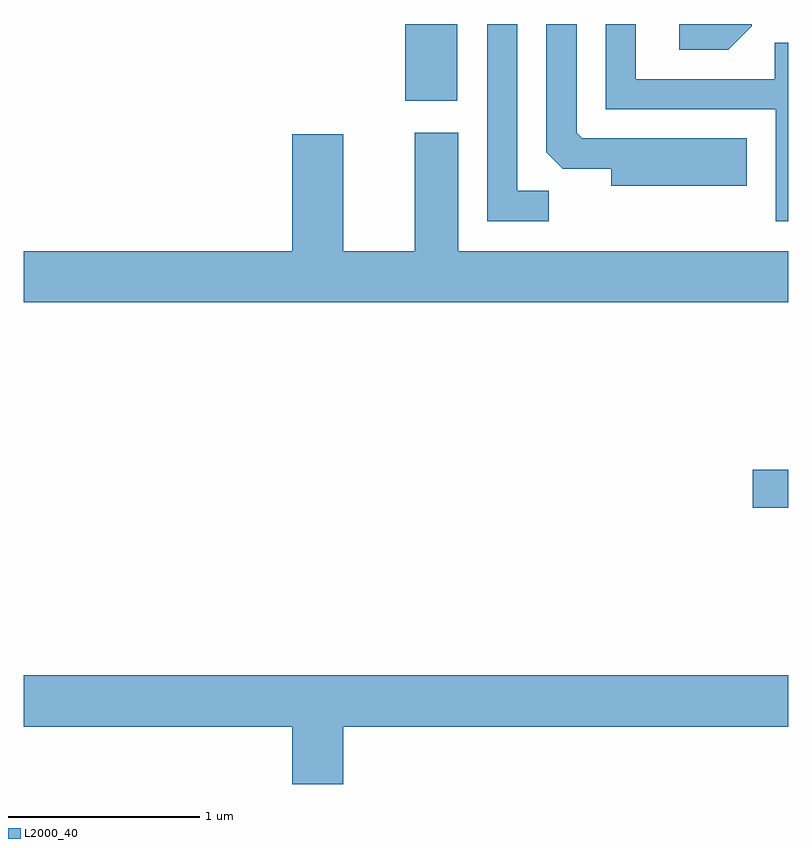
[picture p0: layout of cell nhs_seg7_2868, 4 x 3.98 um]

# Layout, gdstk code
import gdstk
lib = gdstk.Library(unit=1e-6, precision=1e-09)
def R(c, l, rs):  # rectangles x0, y0, x1, y1
    for r in rs: c.add(gdstk.rectangle(r[:2], r[2:], *l))
def P(c, l, *ps):  # polygons
    for p in ps: c.add(gdstk.Polygon(p, *l))
L2000_40 = (2000, 40)

nhs_seg7_2868 = lib.new_cell('nhs_seg7_2868')
R(nhs_seg7_2868, L2000_40, [(277.426,1677.721,277.611,1677.919), (275.606,1679.851,275.879,1680.252)])
P(nhs_seg7_2868, L2000_40, [(277.419,1680.239),(277.419,1680.252),(277.041,1680.252),(277.041,1680.116),(277.297,1680.116)],
  [(277.394,1679.654),(276.532,1679.654),(276.504,1679.682),(276.504,1680.252),(276.346,1680.252),(276.346,1679.582),(276.432,1679.496),(276.686,1679.496),(276.686,1679.406),(277.394,1679.406)],
  [(277.611,1680.153),(277.541,1680.153),(277.541,1679.964),(276.814,1679.964),(276.814,1680.252),(276.656,1680.252),(276.656,1679.806),(277.546,1679.806),(277.546,1679.221),(277.611,1679.221)],
  [(276.358,1679.379),(276.194,1679.379),(276.194,1680.252),(276.036,1680.252),(276.036,1679.221),(276.358,1679.221)],
  [(277.611,1679.064),(275.884,1679.064),(275.884,1679.684),(275.656,1679.684),(275.656,1679.064),(275.284,1679.064),(275.284,1679.674),(275.016,1679.674),(275.016,1679.064),(273.611,1679.064),(273.611,1678.796),(277.611,1678.796)],
  [(275.284,1676.576),(277.611,1676.576),(277.611,1676.844),(273.611,1676.844),(273.611,1676.576),(275.016,1676.576),(275.016,1676.276),(275.284,1676.276)])

lib.write_gds('nhs_seg7_2868.gds')
